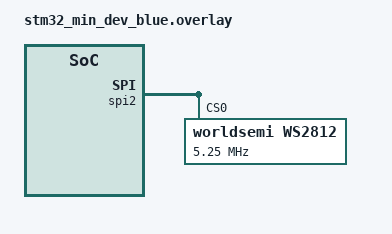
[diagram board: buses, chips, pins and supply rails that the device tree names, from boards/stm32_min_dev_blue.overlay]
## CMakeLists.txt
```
cmake_minimum_required(VERSION 3.13.1)
include($ENV{ZEPHYR_BASE}/cmake/app/boilerplate.cmake NO_POLICY_SCOPE)
project(dansemacabre)

target_sources(app PRIVATE src/main.c)
```

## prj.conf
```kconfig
CONFIG_GPIO=y
CONFIG_SPI=y
CONFIG_SPI_STM32=y
CONFIG_SPI_STM32_INTERRUPT=y
CONFIG_SPI_2=y
CONFIG_LED_STRIP=y
CONFIG_LED_STRIP_INIT_PRIORITY=90
CONFIG_WS2812_STRIP=y
CONFIG_WS2812_STRIP_MAX_PIXELS=256
CONFIG_WS2812_STRIP_ONE_FRAME=0x7f
CONFIG_WS2812_STRIP_ZERO_FRAME=0x03
CONFIG_WS2812_RED_ORDER=1
CONFIG_WS2812_GRN_ORDER=0
CONFIG_WS2812_BLU_ORDER=2
CONFIG_WS2812_HAS_WHITE_CHANNEL=n
```

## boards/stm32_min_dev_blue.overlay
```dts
&spi2 {
	ws2812@0 {
		compatible = "worldsemi,ws2812";
		reg = <0>;
		spi-max-frequency = <5250000>;
		label = "WS2812";
	};
};
```

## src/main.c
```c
/*
 * 2020 Mieszko Mazurek <mimaz@gmx.com> 
 */
#include <drivers/gpio.h>
#include <drivers/led_strip.h>
#include <string.h>
#include <math.h>

#define LED_COUNT 8

enum
{
	BLACK,
	RED,
	GREEN,
	BLUE,
	YELLOW,
	PURPLE,
	CYAN,
	WHITE,
	N_COLORS,
};

static struct device *strip_driver;
static struct led_rgb strip_colors[LED_COUNT];
static struct led_rgb fixed_colors[N_COLORS];
static volatile bool strip_dirty;

static void one_color(struct led_rgb *rgb, int begin, int end)
{
	int i;
	if (end < 0)
		end = LED_COUNT;
	begin = MAX(begin, 0);
	end = MIN(end, LED_COUNT);
	for (i = begin; i < end; i++)
		memcpy(&strip_colors[i], rgb, sizeof(struct led_rgb));
}

static void update_strip()
{
	strip_dirty = true;
}

static void make_rgb(struct led_rgb *rgb, int r, int g, int b)
{
	rgb->r = r;
	rgb->g = g;
	rgb->b = b;
}

static void strip_update_thread_entry(void *p1, void *p2, void *p3)
{
	while (1) {
		if (strip_dirty) {
			led_strip_update_rgb(strip_driver,
					     strip_colors, LED_COUNT);
			strip_dirty = false;
		}
		k_sleep(K_MSEC(25));
	}
}

K_THREAD_DEFINE(strip_update_thread, 1024,
		strip_update_thread_entry,
		NULL, NULL, NULL,
		1, 0, K_NO_WAIT);

void main(void)
{
	int offset, counter, i;

	strip_driver = device_get_binding(DT_INST_0_WORLDSEMI_WS2812_LABEL);

	make_rgb(&fixed_colors[BLACK], 0, 0, 0);
	make_rgb(&fixed_colors[RED], 255, 0, 0);
	make_rgb(&fixed_colors[GREEN], 0, 255, 0);
	make_rgb(&fixed_colors[BLUE], 0, 0, 255);
	make_rgb(&fixed_colors[YELLOW], 240, 240, 0);
	make_rgb(&fixed_colors[PURPLE], 240, 0, 240);
	make_rgb(&fixed_colors[CYAN], 0, 240, 240);
	make_rgb(&fixed_colors[WHITE], 225, 225, 225);

	counter = 0;

	while (1) {
		/* reset all colors */
		one_color(&fixed_colors[BLACK], -1, -1);

		/* draw moving rainbow */
		for (i = 0; i < N_COLORS; i++) {
			offset = (counter + i) % LED_COUNT;
			one_color(&fixed_colors[i], offset, offset + 1);
		}

		update_strip();

		/* increment the counter and strip then wait 200ms */
		counter++;
		k_sleep(K_MSEC(250));
	}
}
```
